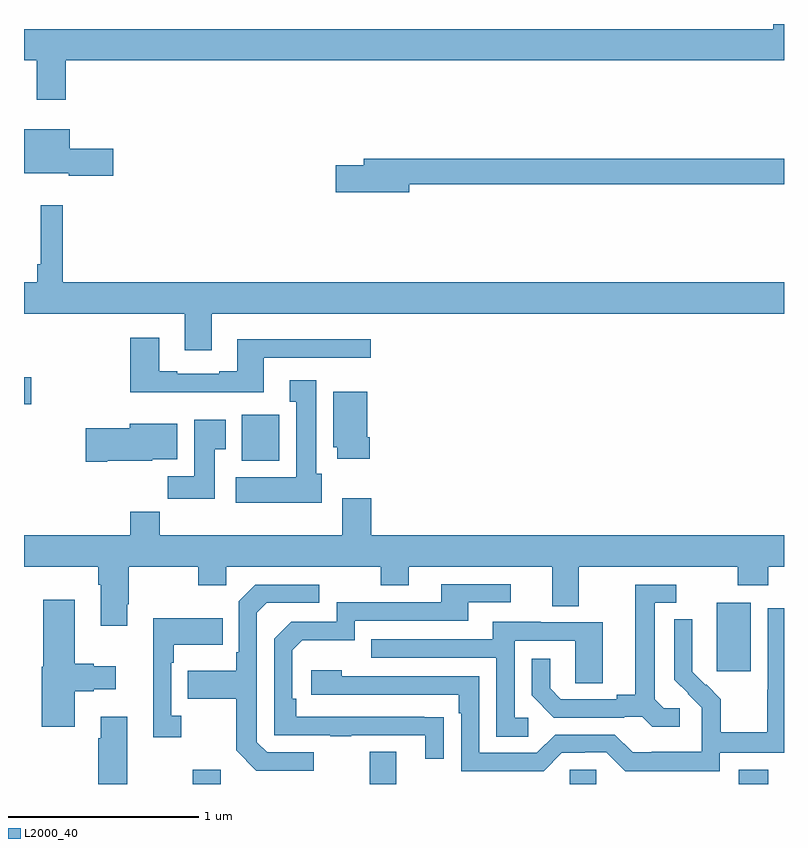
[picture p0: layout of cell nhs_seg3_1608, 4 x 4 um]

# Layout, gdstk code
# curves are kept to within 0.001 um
import gdstk
lib = gdstk.Library(unit=1e-6, precision=1e-09)
def R(c, l, rs):  # rectangles x0, y0, x1, y1
    for r in rs: c.add(gdstk.rectangle(r[:2], r[2:], *l))
def P(c, l, *ps):  # polygons
    for p in ps: c.add(gdstk.Polygon(p, *l))
L2000_40 = (2000, 40)

nhs_seg3_1608 = lib.new_cell('nhs_seg3_1608')
R(nhs_seg3_1608, L2000_40, [(193.888,738.4,194.035,738.475), (194.819,738.4,194.959,738.571), (195.873,738.4,196.011,738.474), (196.763,738.4,196.916,738.475), (196.646,738.993,196.825,739.354), (194.147,740.102,194.344,740.344), (193,740.399,193.039,740.541)])
P(nhs_seg3_1608, L2000_40, [(193.22,742.208),(197,742.208),(197,742.4),(196.943,742.4),(196.943,742.372),(193,742.372),(193,742.208),(193.067,742.208),(193.067,742.002),(193.22,742.002)],
  [(193.471,741.744),(193.24,741.744),(193.24,741.847),(193,741.847),(193,741.614),(193.236,741.614),(193.236,741.602),(193.471,741.602)],
  [(195.028,741.556),(197,741.556),(197,741.692),(194.789,741.692),(194.789,741.656),(194.64,741.656),(194.64,741.514),(195.028,741.514)],
  [(193.987,740.876),(197,740.876),(197,741.04),(193.205,741.04),(193.205,741.445),(193.087,741.445),(193.087,741.136),(193.069,741.136),(193.069,741.04),(193,741.04),(193,740.876),(193.847,740.876),(193.847,740.682),(193.987,740.682)],
  [(194.263,740.643),(194.824,740.643),(194.824,740.74),(194.123,740.74),(194.123,740.572),(194.027,740.572),(194.027,740.559),(193.807,740.559),(193.807,740.572),(193.711,740.572),(193.711,740.749),(193.559,740.749),(193.559,740.462),(194.263,740.462)],
  [(194.566,740.034),(194.539,740.034),(194.539,740.524),(194.399,740.524),(194.399,740.411),(194.432,740.411),(194.432,740.014),(194.115,740.014),(194.115,739.88),(194.566,739.88)],
  [(194.819,740.224),(194.806,740.224),(194.806,740.464),(194.627,740.464),(194.627,740.172),(194.648,740.172),(194.648,740.112),(194.819,740.112)],
  [(194.005,740.161),(194.062,740.161),(194.062,740.317),(193.895,740.317),(193.895,740.02),(193.756,740.02),(193.756,739.902),(194.005,739.902)],
  [(193.438,740.102),(193.674,740.102),(193.674,740.108),(193.807,740.108),(193.807,740.296),(193.556,740.296),(193.556,740.273),(193.326,740.273),(193.326,740.095),(193.438,740.095)],
  [(193,739.544),(193.391,739.544),(193.391,739.448),(193.403,739.448),(193.403,739.233),(193.543,739.233),(193.543,739.345),(193.551,739.345),(193.551,739.544),(193.918,739.544),(193.918,739.445),(194.064,739.445),(194.064,739.544),(194.878,739.544),(194.878,739.445),(195.025,739.445),(195.025,739.544),(195.779,739.544),(195.779,739.336),(195.919,739.336),(195.919,739.544),(196.756,739.544),(196.756,739.445),(196.916,739.445),(196.916,739.544),(197,739.544),(197,739.708),(194.828,739.708),(194.828,739.903),(194.675,739.903),(194.675,739.708),(193.715,739.708),(193.715,739.832),(193.559,739.832),(193.559,739.708),(193,739.708)],
  [(195.209,738.752),(194.432,738.753),(194.432,738.85),(194.412,738.85),(194.412,739.104),(194.465,739.157),(194.742,739.157),(194.742,739.26),(195.337,739.26),(195.337,739.356),(195.562,739.356),(195.562,739.452),(195.197,739.452),(195.197,739.356),(194.646,739.356),(194.646,739.254),(194.406,739.254),(194.316,739.164),(194.316,738.657),(194.611,738.657),(194.611,738.652),(194.723,738.652),(194.723,738.657),(195.113,738.657),(195.113,738.534),(195.209,738.534)],
  [(194.524,738.567),(194.28,738.567),(194.226,738.621),(194.226,739.302),(194.277,739.353),(194.554,739.353),(194.554,739.449),(194.217,739.449),(194.13,739.362),(194.13,739.093),(194.118,739.093),(194.118,738.997),(193.861,738.997),(193.861,738.85),(194.118,738.85),(194.118,738.577),(194.223,738.471),(194.524,738.471)],
  [(196.45,738.798),(196.368,738.798),(196.321,738.845),(196.321,739.353),(196.432,739.353),(196.432,739.449),(196.217,739.449),(196.217,738.869),(196.121,738.869),(196.121,738.846),(195.826,738.846),(195.769,738.903),(195.769,739.06),(195.672,739.06),(195.672,738.866),(195.788,738.75),(196.16,738.75),(196.16,738.753),(196.254,738.753),(196.306,738.701),(196.45,738.701)],
  [(193.267,738.887),(193.367,738.887),(193.367,738.899),(193.483,738.899),(193.483,739.021),(193.367,739.021),(193.367,739.034),(193.267,739.034),(193.267,739.369),(193.1,739.369),(193.1,739.017),(193.094,739.017),(193.094,738.702),(193.267,738.702)],
  [(196.662,738.564),(197,738.564),(197,739.326),(196.914,739.326),(196.914,738.896),(196.912,738.896),(196.912,738.673),(196.667,738.673),(196.667,738.847),(196.59,738.924),(196.587,738.921),(196.517,738.992),(196.518,739.268),(196.422,739.268),(196.422,738.95),(196.568,738.802),(196.568,738.705),(196.566,738.705),(196.566,738.571),(196.303,738.571),(196.303,738.567),(196.203,738.567),(196.11,738.66),(195.795,738.66),(195.699,738.564),(195.396,738.564),(195.396,738.966),(194.672,738.966),(194.672,739),(194.511,739),(194.511,738.87),(195.287,738.87),(195.287,738.773),(195.3,738.773),(195.3,738.468),(195.735,738.468),(195.831,738.564),(195.95,738.564),(195.95,738.567),(196.065,738.567),(196.165,738.467),(196.662,738.467)],
  [(193.828,738.758),(193.776,738.758),(193.776,739.037),(193.789,739.037),(193.789,739.133),(194.045,739.133),(194.045,739.273),(193.679,739.273),(193.679,738.645),(193.828,738.645)],
  [(195.655,738.75),(195.582,738.75),(195.582,739.155),(195.9,739.155),(195.9,738.931),(196.045,738.931),(196.045,739.251),(195.721,739.251),(195.721,739.255),(195.467,739.255),(195.467,739.161),(194.827,739.161),(194.827,739.065),(195.486,739.065),(195.486,738.649),(195.655,738.649)],
  [(193.543,738.754),(193.403,738.754),(193.403,738.641),(193.391,738.641),(193.391,738.4),(193.543,738.4)])

lib.write_gds('nhs_seg3_1608.gds')
